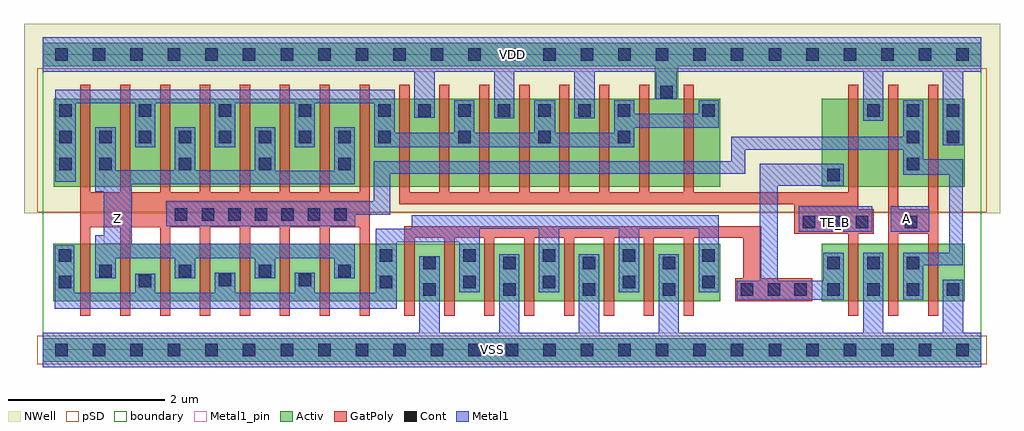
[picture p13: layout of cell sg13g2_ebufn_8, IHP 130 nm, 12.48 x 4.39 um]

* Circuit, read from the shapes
.subckt sg13g2_ebufn_8 A TE_B VDD VSS Z
XM1 Z n1 n2 VSS sg13_lv_nmos w=0.74u l=0.13u m=8
XM2 VSS n3 n2 VSS sg13_lv_nmos w=0.74u l=0.13u m=8
XM3 VSS TE_B n3 VSS sg13_lv_nmos w=0.74u l=0.13u
XM4 n1 A VSS VSS sg13_lv_nmos w=0.74u l=0.13u m=2
XM5 Z n1 n4 VDD sg13_lv_pmos w=1.12u l=0.13u m=8
XM6 VDD TE_B n4 VDD sg13_lv_pmos w=1.12u l=0.13u m=8
XM7 VDD TE_B n3 VDD sg13_lv_pmos w=1.12u l=0.13u
XM8 n1 A VDD VDD sg13_lv_pmos w=1.12u l=0.13u m=2
.ends

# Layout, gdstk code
import gdstk
lib = gdstk.Library(unit=1e-6, precision=1e-09)
def R(c, l, rs):  # rectangles x0, y0, x1, y1
    for r in rs: c.add(gdstk.rectangle(r[:2], r[2:], *l))
def A(c, l, x, y, w, h, nx, ny, dx, dy):  # array of equal rectangles
    R(c, l, [(x+i*dx, y+j*dy, x+i*dx+w, y+j*dy+h) for i in range(nx) for j in range(ny)])
def P(c, l, *ps):  # polygons
    for p in ps: c.add(gdstk.Polygon(p, *l))
Activ = (1, 0)
GatPoly = (5, 0)
Cont = (6, 0)
Metal1 = (8, 0)
Metal1_pin = (8, 2)
pSD = (14, 0)
NWell = (31, 0)
boundary = (189, 4)

sg13g2_ebufn_8 = lib.new_cell('sg13g2_ebufn_8')
R(sg13g2_ebufn_8, Activ, [(0,-0.15,12,0.15), (0.135,0.62,8.665,1.36), (9.96,0.62,11.79,1.36), (9.96,2.09,11.79,3.21)])
P(sg13g2_ebufn_8, Activ, [(12,3.93),(0,3.93),(0,3.63),(7.825,3.63),(7.825,3.21),(0.14,3.21),(0.14,2.09),(8.665,2.09),(8.665,3.21),(8.125,3.21),(8.125,3.63),(12,3.63)])
P(sg13g2_ebufn_8, GatPoly, [(11.45,3.39),(11.32,3.39),(11.32,1.8),(10.94,1.8),(10.94,3.39),(10.81,3.39),(10.81,0.44),(10.94,0.44),(10.94,1.485),(11.32,1.485),(11.32,0.44),(11.45,0.44)],
  [(10.625,1.8),(10.43,1.8),(10.43,3.39),(10.3,3.39),(10.3,2.015),(8.325,2.015),(8.325,3.39),(8.195,3.39),(8.195,2.015),(7.755,2.015),(7.755,3.39),(7.625,3.39),(7.625,2.015),(7.245,2.015),(7.245,3.39),(7.115,3.39),(7.115,2.015),(6.735,2.015),(6.735,3.39),(6.605,3.39),(6.605,2.015),(6.225,2.015),(6.225,3.39),(6.095,3.39),(6.095,2.015),(5.71,2.015),(5.71,3.39),(5.58,3.39),(5.58,2.015),(5.2,2.015),(5.2,3.39),(5.07,3.39),(5.07,2.015),(4.69,2.015),(4.69,3.39),(4.56,3.39),(4.56,1.865),(9.61,1.865),(9.61,1.485),(10.3,1.485),(10.3,0.44),(10.43,0.44),(10.43,1.485),(10.625,1.485)],
  [(9.84,0.92),(9.19,0.92),(9.19,1.585),(4.625,1.585),(4.625,0.44),(4.755,0.44),(4.755,1.435),(5.135,1.435),(5.135,0.44),(5.265,0.44),(5.265,1.435),(5.645,1.435),(5.645,0.44),(5.775,0.44),(5.775,1.435),(6.155,1.435),(6.155,0.44),(6.285,0.44),(6.285,1.435),(6.665,1.435),(6.665,0.44),(6.795,0.44),(6.795,1.435),(7.175,1.435),(7.175,0.44),(7.305,0.44),(7.305,1.435),(7.685,1.435),(7.685,0.44),(7.815,0.44),(7.815,1.435),(8.195,1.435),(8.195,0.44),(8.325,0.44),(8.325,1.435),(8.955,1.435),(8.955,0.92),(8.855,0.92),(8.855,0.62),(9.84,0.62)],
  [(4.18,3.39),(4.05,3.39),(4.05,2.015),(3.67,2.015),(3.67,3.39),(3.54,3.39),(3.54,2.015),(3.16,2.015),(3.16,3.39),(3.03,3.39),(3.03,2.015),(2.65,2.015),(2.65,3.39),(2.52,3.39),(2.52,2.015),(2.14,2.015),(2.14,3.39),(2.01,3.39),(2.01,2.015),(1.63,2.015),(1.63,3.39),(1.5,3.39),(1.5,2.015),(1.12,2.015),(1.12,3.39),(0.99,3.39),(0.99,2.015),(0.61,2.015),(0.61,3.39),(0.48,3.39),(0.48,0.44),(0.61,0.44),(0.61,1.57),(0.99,1.57),(0.99,0.44),(1.12,0.44),(1.12,1.57),(1.5,1.57),(1.5,0.44),(1.63,0.44),(1.63,1.57),(2.01,1.57),(2.01,0.44),(2.14,0.44),(2.14,1.57),(2.52,1.57),(2.52,0.44),(2.65,0.44),(2.65,1.57),(3.03,1.57),(3.03,0.44),(3.16,0.44),(3.16,1.57),(3.54,1.57),(3.54,0.44),(3.67,0.44),(3.67,1.57),(4.05,1.57),(4.05,0.44),(4.18,0.44)])
A(sg13g2_ebufn_8, Cont, 0.16, -0.08, 0.16, 0.16, 25, 2, 0.48, 3.78)
A(sg13g2_ebufn_8, Cont, 4.865, 0.69, 0.16, 0.16, 4, 2, 1.02, 0.34)
A(sg13g2_ebufn_8, Cont, 10.03, 0.69, 0.16, 0.16, 4, 1, 0.51, 0)
A(sg13g2_ebufn_8, Cont, 5.375, 0.79, 0.16, 0.16, 4, 2, 1.02, 0.34)
A(sg13g2_ebufn_8, Cont, 0.72, 0.93, 0.16, 0.16, 4, 2, 1.02, 1.37)
A(sg13g2_ebufn_8, Cont, 10.03, 1.03, 0.16, 0.16, 3, 1, 0.51, 0)
A(sg13g2_ebufn_8, Cont, 9.715, 1.555, 0.16, 0.16, 3, 1, 0.34, 0)
A(sg13g2_ebufn_8, Cont, 1.69, 1.655, 0.16, 0.16, 7, 1, 0.34, 0)
A(sg13g2_ebufn_8, Cont, 0.21, 2.64, 0.16, 0.16, 9, 1, 0.51, 0)
A(sg13g2_ebufn_8, Cont, 0.21, 2.98, 0.16, 0.16, 5, 1, 1.02, 0)
A(sg13g2_ebufn_8, Cont, 4.8, 2.98, 0.16, 0.16, 3, 1, 0.51, 0)
A(sg13g2_ebufn_8, Cont, 6.335, 2.98, 0.16, 0.16, 3, 1, 0.51, 0)
A(sg13g2_ebufn_8, Cont, 10.54, 2.98, 0.16, 0.16, 3, 1, 0.51, 0)
R(sg13g2_ebufn_8, Cont, [(8.925,0.69,9.085,0.85), (9.27,0.69,9.43,0.85), (9.61,0.69,9.77,0.85), (0.205,0.79,0.365,0.95), (4.31,0.79,4.47,0.95), (1.23,0.8,1.39,0.96), (2.25,0.815,2.41,0.975), (3.27,0.815,3.43,0.975), (0.205,1.13,0.365,1.29), (4.31,1.13,4.47,1.29), (11.025,1.555,11.185,1.715), (10.03,2.16,10.19,2.32), (0.21,2.3,0.37,2.46), (11.05,2.3,11.21,2.46), (5.31,2.64,5.47,2.8), (6.335,2.64,6.495,2.8), (7.355,2.64,7.515,2.8), (11.05,2.64,11.21,2.8), (11.56,2.64,11.72,2.8), (8.435,2.98,8.595,3.14), (7.895,3.22,8.055,3.38)])
R(sg13g2_ebufn_8, Metal1, [(9.665,1.51,10.605,1.835), (10.84,1.51,11.335,1.835)])
P(sg13g2_ebufn_8, Metal1, [(10.24,1.24),(9.98,1.24),(9.98,0.885),(9.4,0.885),(9.4,2.1),(10.24,2.1),(10.24,2.38),(9.165,2.38),(9.165,0.885),(8.875,0.885),(8.875,0.64),(10.24,0.64)],
  [(12,0.22),(11.77,0.22),(11.77,0.9),(11.51,0.9),(11.51,0.22),(10.75,0.22),(10.75,1.24),(10.49,1.24),(10.49,0.22),(8.135,0.22),(8.135,1.225),(7.875,1.225),(7.875,0.22),(7.115,0.22),(7.115,1.225),(6.855,1.225),(6.855,0.22),(6.095,0.22),(6.095,1.225),(5.835,1.225),(5.835,0.22),(5.075,0.22),(5.075,1.2),(4.815,1.2),(4.815,0.22),(0,0.22),(0,-0.22),(12,-0.22)],
  [(12,4),(0,4),(0,3.56),(4.75,3.56),(4.75,2.97),(5.01,2.97),(5.01,3.56),(5.77,3.56),(5.77,2.96),(6.03,2.96),(6.03,3.56),(6.795,3.56),(6.795,2.96),(7.055,2.96),(7.055,3.56),(7.84,3.56),(7.84,3.205),(8.105,3.205),(8.105,3.56),(10.49,3.56),(10.49,2.93),(10.75,2.93),(10.75,3.56),(11.51,3.56),(11.51,2.62),(11.77,2.62),(11.77,3.56),(12,3.56)],
  [(11.765,2.44),(11.26,2.44),(11.26,3.19),(11,3.19),(11,2.725),(8.805,2.725),(8.805,2.41),(4.235,2.41),(4.235,1.9),(1.58,1.9),(1.58,1.585),(3.995,1.585),(3.995,1.73),(4.445,1.73),(4.445,2.25),(8.985,2.25),(8.985,2.56),(11,2.56),(11,2.24),(11.59,2.24),(11.59,1.24),(11,1.24),(11,0.64),(11.26,0.64),(11.26,1.08),(11.765,1.08)],
  [(8.645,3.19),(8.385,3.19),(8.385,3.02),(7.565,3.02),(7.565,3.19),(7.305,3.19),(7.305,2.775),(6.55,2.775),(6.55,3.19),(6.285,3.19),(6.285,2.78),(5.52,2.78),(5.52,3.19),(5.26,3.19),(5.26,2.78),(4.5,2.78),(4.5,3.325),(0.16,3.325),(0.16,2.15),(0.42,2.15),(0.42,3.155),(1.18,3.155),(1.18,2.59),(1.44,2.59),(1.44,3.155),(2.2,3.155),(2.2,2.59),(2.46,2.59),(2.46,3.155),(3.22,3.155),(3.22,2.59),(3.48,2.59),(3.48,3.155),(4.24,3.155),(4.24,2.59),(7.565,2.59),(7.565,2.84),(8.645,2.84)],
  [(8.645,1.72),(4.72,1.72),(4.72,1.55),(4.26,1.55),(4.26,0.73),(3.48,0.73),(3.48,0.985),(3.22,0.985),(3.22,0.73),(2.46,0.73),(2.46,0.985),(2.2,0.985),(2.2,0.73),(1.44,0.73),(1.44,0.975),(1.18,0.975),(1.18,0.73),(0.405,0.73),(0.405,1.34),(0.15,1.34),(0.15,0.53),(4.525,0.53),(4.525,1.38),(5.325,1.38),(5.325,0.74),(5.585,0.74),(5.585,1.55),(6.345,1.55),(6.345,0.74),(6.605,0.74),(6.605,1.55),(7.365,1.55),(7.365,0.74),(7.625,0.74),(7.625,1.55),(8.385,1.55),(8.385,0.74),(8.645,0.74)],
  [(3.99,1.36),(1.14,1.36),(1.14,2.12),(3.99,2.12),(3.99,2.85),(3.73,2.85),(3.73,2.29),(2.97,2.29),(2.97,2.85),(2.71,2.85),(2.71,2.295),(1.95,2.295),(1.95,2.85),(1.69,2.85),(1.69,2.295),(0.93,2.295),(0.93,2.85),(0.67,2.85),(0.67,2.02),(0.78,2.02),(0.78,1.465),(0.67,1.465),(0.67,0.92),(0.93,0.92),(0.93,1.17),(1.685,1.17),(1.685,0.92),(1.95,0.92),(1.95,1.17),(2.71,1.17),(2.71,0.92),(2.97,0.92),(2.97,1.17),(3.73,1.17),(3.73,0.915),(3.99,0.915)])
R(sg13g2_ebufn_8, Metal1_pin, [(0,-0.22,12,0.22), (0.78,1.36,1.14,2.295), (9.665,1.51,10.605,1.835), (10.84,1.51,11.335,1.835), (0,3.56,12,4)])
R(sg13g2_ebufn_8, pSD, [(-0.07,-0.18,12.07,0.18), (-0.07,1.76,12.07,3.6)])
R(sg13g2_ebufn_8, NWell, [(-0.24,1.75,12.24,4.17)])
R(sg13g2_ebufn_8, boundary, [(0,0,12,3.78)])
sg13g2_ebufn_8.add(gdstk.Label('VDD', (6.01,3.78), layer=8, texttype=25))
sg13g2_ebufn_8.add(gdstk.Label('VSS', (5.745,0), layer=8, texttype=25))
sg13g2_ebufn_8.add(gdstk.Label('Z', (0.96,1.68), layer=8, texttype=25))
sg13g2_ebufn_8.add(gdstk.Label('A', (11.04,1.68), layer=8, texttype=25))
sg13g2_ebufn_8.add(gdstk.Label('TE_B', (10.14,1.635), layer=8, texttype=25))

lib.write_gds('sg13g2_ebufn_8.gds')
